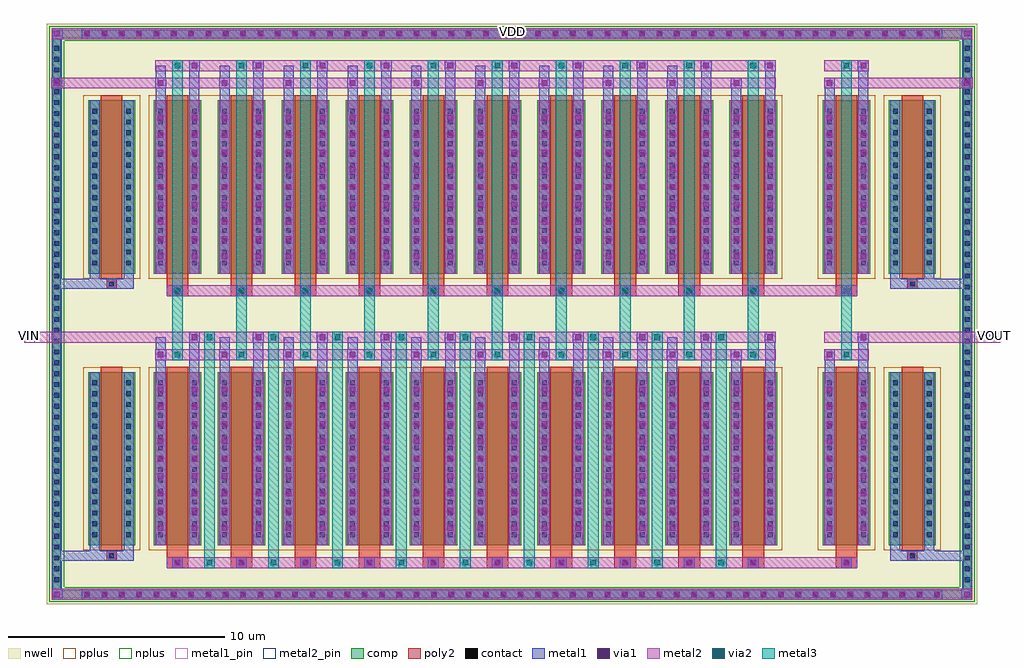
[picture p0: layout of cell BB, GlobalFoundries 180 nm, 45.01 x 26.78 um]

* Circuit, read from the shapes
.subckt BB VDD VIN VOUT
XM1 VDD VDD VDD VDD pfet_03v3 w=8u l=1u m=4
XM2 VIN VIN n1 VDD pfet_03v3 w=8u l=1u m=10
XM3 n1 n1 VDD VDD pfet_03v3 w=8u l=1u m=10
XM4 VOUT VIN n2 VDD pfet_03v3 w=8u l=1u
XM5 n2 n1 VDD VDD pfet_03v3 w=8u l=1u
.ends

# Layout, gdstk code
import gdstk
lib = gdstk.Library(unit=1e-6, precision=5e-09)
def R(c, l, rs):  # rectangles x0, y0, x1, y1
    for r in rs: c.add(gdstk.rectangle(r[:2], r[2:], *l))
def A(c, l, x, y, w, h, nx, ny, dx, dy):  # array of equal rectangles
    R(c, l, [(x+i*dx, y+j*dy, x+i*dx+w, y+j*dy+h) for i in range(nx) for j in range(ny)])
def P(c, l, *ps):  # polygons
    for p in ps: c.add(gdstk.Polygon(p, *l))
nwell = (21, 0)
comp = (22, 0)
poly2 = (30, 0)
pplus = (31, 0)
nplus = (32, 0)
contact = (33, 0)
metal1 = (34, 0)
metal1_pin = (34, 10)
via1 = (35, 0)
metal2 = (36, 0)
metal2_pin = (36, 10)
via2 = (38, 0)
metal3 = (42, 0)

c_bb = lib.new_cell('BB')
R(c_bb, nwell, [(-17.795,-7.12,25.115,19.66), (-16.235,-5.565,16.235,5.565), (17.635,-5.565,23.555,5.565), (-16.235,6.965,16.235,18.095), (17.635,6.965,23.555,18.095)])
A(c_bb, comp, -16.12, -6.84, 0.36, 0.36, 50, 2, 0.8, 25.86)
A(c_bb, comp, -17.515, -6.16, 0.36, 0.36, 1, 50, 0, 0.5)
A(c_bb, comp, 24.475, -6.16, 0.36, 0.36, 1, 50, 0, 0.5)
A(c_bb, comp, -12.865, -4.405, 2.2, 8, 10, 2, 2.95, 12.53)
R(c_bb, comp, [(-16.12,-6.84,23.44,-6.48), (-17.515,-6.16,-17.155,18.7), (24.475,-6.16,24.835,18.7), (-15.885,-4.405,-13.725,3.595), (17.985,-4.405,20.185,3.595), (21.045,-4.405,23.205,3.595), (-15.885,8.125,-13.725,16.125), (17.985,8.125,20.185,16.125), (21.045,8.125,23.205,16.125), (-16.12,19.02,23.44,19.38)])
P(c_bb, comp, [(24.835,19.38),(-17.515,19.38),(-17.515,-6.48),(-17.155,-6.48),(-17.155,19.02),(24.475,19.02),(24.475,-6.48),(-17.155,-6.48),(-17.515,-6.48),(-17.515,-6.84),(24.835,-6.84)])
A(c_bb, poly2, -12.265, -5.445, 1, 0.5, 10, 2, 2.95, 12.53)
A(c_bb, poly2, -11.945, -5.375, 0.36, 0.36, 10, 2, 2.95, 12.53)
A(c_bb, poly2, -12.265, -5.195, 1, 9.03, 9, 2, 2.95, 12.53)
A(c_bb, poly2, -12.265, -4.945, 1, 0.3, 10, 2, 2.95, 12.53)
A(c_bb, poly2, -12.265, -4.645, 1, 8.48, 10, 2, 2.95, 12.53)
R(c_bb, poly2, [(18.585,-5.445,19.585,-4.945), (18.905,-5.375,19.265,-5.015), (-15.035,-5.105,-14.575,-4.645), (21.895,-5.105,22.355,-4.645), (-14.985,-5.055,-14.625,-4.695), (21.945,-5.055,22.305,-4.695), (18.585,-4.945,19.585,-4.645), (-15.305,-4.645,-14.305,3.835), (18.585,-4.645,19.585,3.835), (21.625,-4.645,22.625,3.835), (18.585,7.085,19.585,7.585), (18.905,7.155,19.265,7.515), (-15.035,7.425,-14.575,7.885), (21.895,7.425,22.355,7.885), (-14.985,7.475,-14.625,7.835), (21.945,7.475,22.305,7.835), (18.585,7.585,19.585,7.885), (-15.305,7.885,-14.305,16.365), (18.585,7.885,19.585,16.365), (21.625,7.885,22.625,16.365)])
A(c_bb, pplus, -13.095, -4.635, 2.66, 8.46, 10, 2, 2.95, 12.53)
R(c_bb, pplus, [(-16.115,-4.635,-13.495,3.825), (-13.095,-4.635,16.115,3.825), (17.755,-4.635,20.415,3.825), (17.755,-4.635,20.415,3.825), (20.815,-4.635,23.435,3.825), (-16.115,7.895,-13.495,16.355), (-13.095,7.895,16.115,16.355), (17.755,7.895,20.415,16.355), (17.755,7.895,20.415,16.355), (20.815,7.895,23.435,16.355)])
P(c_bb, nplus, [(24.995,19.54),(-17.675,19.54),(-17.675,-6.32),(-16.995,-6.32),(-16.995,18.86),(24.315,18.86),(24.315,-6.32),(-16.995,-6.32),(-17.675,-6.32),(-17.675,-7),(24.995,-7)])
A(c_bb, contact, -16.05, -6.77, 0.22, 0.22, 50, 2, 0.8, 25.86)
A(c_bb, contact, -17.445, -6.09, 0.22, 0.22, 1, 50, 0, 0.5)
A(c_bb, contact, 24.545, -6.09, 0.22, 0.22, 1, 50, 0, 0.5)
A(c_bb, contact, -11.875, -5.305, 0.22, 0.22, 10, 2, 2.95, 12.53)
A(c_bb, contact, -15.695, -4.015, 0.22, 0.22, 1, 15, 0, 0.5)
A(c_bb, contact, -14.135, -4.015, 0.22, 0.22, 1, 15, 0, 0.5)
A(c_bb, contact, -12.655, -4.015, 0.22, 0.22, 1, 15, 0, 0.5)
A(c_bb, contact, -11.095, -4.015, 0.22, 0.22, 1, 15, 0, 0.5)
A(c_bb, contact, -9.705, -4.015, 0.22, 0.22, 1, 15, 0, 0.5)
A(c_bb, contact, -8.145, -4.015, 0.22, 0.22, 1, 15, 0, 0.5)
A(c_bb, contact, -6.755, -4.015, 0.22, 0.22, 1, 15, 0, 0.5)
A(c_bb, contact, -5.195, -4.015, 0.22, 0.22, 1, 15, 0, 0.5)
A(c_bb, contact, -3.805, -4.015, 0.22, 0.22, 1, 15, 0, 0.5)
A(c_bb, contact, -2.245, -4.015, 0.22, 0.22, 1, 15, 0, 0.5)
A(c_bb, contact, -0.855, -4.015, 0.22, 0.22, 1, 15, 0, 0.5)
A(c_bb, contact, 0.705, -4.015, 0.22, 0.22, 1, 15, 0, 0.5)
A(c_bb, contact, 2.095, -4.015, 0.22, 0.22, 1, 15, 0, 0.5)
A(c_bb, contact, 3.655, -4.015, 0.22, 0.22, 1, 15, 0, 0.5)
A(c_bb, contact, 5.045, -4.015, 0.22, 0.22, 1, 15, 0, 0.5)
A(c_bb, contact, 6.605, -4.015, 0.22, 0.22, 1, 15, 0, 0.5)
A(c_bb, contact, 7.995, -4.015, 0.22, 0.22, 1, 15, 0, 0.5)
A(c_bb, contact, 9.555, -4.015, 0.22, 0.22, 1, 15, 0, 0.5)
A(c_bb, contact, 10.945, -4.015, 0.22, 0.22, 1, 15, 0, 0.5)
A(c_bb, contact, 12.505, -4.015, 0.22, 0.22, 1, 15, 0, 0.5)
A(c_bb, contact, 13.895, -4.015, 0.22, 0.22, 1, 15, 0, 0.5)
A(c_bb, contact, 15.455, -4.015, 0.22, 0.22, 1, 15, 0, 0.5)
A(c_bb, contact, 18.195, -4.015, 0.22, 0.22, 1, 15, 0, 0.5)
A(c_bb, contact, 19.755, -4.015, 0.22, 0.22, 1, 15, 0, 0.5)
A(c_bb, contact, 21.235, -4.015, 0.22, 0.22, 1, 15, 0, 0.5)
A(c_bb, contact, 22.795, -4.015, 0.22, 0.22, 1, 15, 0, 0.5)
A(c_bb, contact, -15.695, 8.515, 0.22, 0.22, 1, 15, 0, 0.5)
A(c_bb, contact, -14.135, 8.515, 0.22, 0.22, 1, 15, 0, 0.5)
A(c_bb, contact, -12.655, 8.515, 0.22, 0.22, 1, 15, 0, 0.5)
A(c_bb, contact, -11.095, 8.515, 0.22, 0.22, 1, 15, 0, 0.5)
A(c_bb, contact, -9.705, 8.515, 0.22, 0.22, 1, 15, 0, 0.5)
A(c_bb, contact, -8.145, 8.515, 0.22, 0.22, 1, 15, 0, 0.5)
A(c_bb, contact, -6.755, 8.515, 0.22, 0.22, 1, 15, 0, 0.5)
A(c_bb, contact, -5.195, 8.515, 0.22, 0.22, 1, 15, 0, 0.5)
A(c_bb, contact, -3.805, 8.515, 0.22, 0.22, 1, 15, 0, 0.5)
A(c_bb, contact, -2.245, 8.515, 0.22, 0.22, 1, 15, 0, 0.5)
A(c_bb, contact, -0.855, 8.515, 0.22, 0.22, 1, 15, 0, 0.5)
A(c_bb, contact, 0.705, 8.515, 0.22, 0.22, 1, 15, 0, 0.5)
A(c_bb, contact, 2.095, 8.515, 0.22, 0.22, 1, 15, 0, 0.5)
A(c_bb, contact, 3.655, 8.515, 0.22, 0.22, 1, 15, 0, 0.5)
A(c_bb, contact, 5.045, 8.515, 0.22, 0.22, 1, 15, 0, 0.5)
A(c_bb, contact, 6.605, 8.515, 0.22, 0.22, 1, 15, 0, 0.5)
A(c_bb, contact, 7.995, 8.515, 0.22, 0.22, 1, 15, 0, 0.5)
A(c_bb, contact, 9.555, 8.515, 0.22, 0.22, 1, 15, 0, 0.5)
A(c_bb, contact, 10.945, 8.515, 0.22, 0.22, 1, 15, 0, 0.5)
A(c_bb, contact, 12.505, 8.515, 0.22, 0.22, 1, 15, 0, 0.5)
A(c_bb, contact, 13.895, 8.515, 0.22, 0.22, 1, 15, 0, 0.5)
A(c_bb, contact, 15.455, 8.515, 0.22, 0.22, 1, 15, 0, 0.5)
A(c_bb, contact, 18.195, 8.515, 0.22, 0.22, 1, 15, 0, 0.5)
A(c_bb, contact, 19.755, 8.515, 0.22, 0.22, 1, 15, 0, 0.5)
A(c_bb, contact, 21.235, 8.515, 0.22, 0.22, 1, 15, 0, 0.5)
A(c_bb, contact, 22.795, 8.515, 0.22, 0.22, 1, 15, 0, 0.5)
R(c_bb, contact, [(18.975,-5.305,19.195,-5.085), (-14.915,-4.985,-14.695,-4.765), (22.015,-4.985,22.235,-4.765), (18.975,7.225,19.195,7.445), (-14.915,7.545,-14.695,7.765), (22.015,7.545,22.235,7.765)])
A(c_bb, metal1, -16.19, -6.91, 0.5, 0.5, 50, 2, 0.8, 25.86)
A(c_bb, metal1, -17.565, -6.21, 0.46, 0.46, 1, 50, 0, 0.5)
A(c_bb, metal1, 24.425, -6.21, 0.46, 0.46, 1, 50, 0, 0.5)
A(c_bb, metal1, -12.015, -5.445, 0.5, 0.5, 10, 2, 2.95, 12.53)
A(c_bb, metal1, -15.815, -4.135, 0.46, 0.46, 1, 15, 0, 0.5)
A(c_bb, metal1, -14.255, -4.135, 0.46, 0.46, 1, 15, 0, 0.5)
A(c_bb, metal1, -12.775, -4.135, 0.46, 0.46, 1, 15, 0, 0.5)
A(c_bb, metal1, -11.215, -4.135, 0.46, 0.46, 1, 15, 0, 0.5)
A(c_bb, metal1, -9.825, -4.135, 0.46, 0.46, 1, 15, 0, 0.5)
A(c_bb, metal1, -8.265, -4.135, 0.46, 0.46, 1, 15, 0, 0.5)
A(c_bb, metal1, -6.875, -4.135, 0.46, 0.46, 1, 15, 0, 0.5)
A(c_bb, metal1, -5.315, -4.135, 0.46, 0.46, 1, 15, 0, 0.5)
A(c_bb, metal1, -3.925, -4.135, 0.46, 0.46, 1, 15, 0, 0.5)
A(c_bb, metal1, -2.365, -4.135, 0.46, 0.46, 1, 15, 0, 0.5)
A(c_bb, metal1, -0.975, -4.135, 0.46, 0.46, 1, 15, 0, 0.5)
A(c_bb, metal1, 0.585, -4.135, 0.46, 0.46, 1, 15, 0, 0.5)
A(c_bb, metal1, 1.975, -4.135, 0.46, 0.46, 1, 15, 0, 0.5)
A(c_bb, metal1, 3.535, -4.135, 0.46, 0.46, 1, 15, 0, 0.5)
A(c_bb, metal1, 4.925, -4.135, 0.46, 0.46, 1, 15, 0, 0.5)
A(c_bb, metal1, 6.485, -4.135, 0.46, 0.46, 1, 15, 0, 0.5)
A(c_bb, metal1, 7.875, -4.135, 0.46, 0.46, 1, 15, 0, 0.5)
A(c_bb, metal1, 9.435, -4.135, 0.46, 0.46, 1, 15, 0, 0.5)
A(c_bb, metal1, 10.825, -4.135, 0.46, 0.46, 1, 15, 0, 0.5)
A(c_bb, metal1, 12.385, -4.135, 0.46, 0.46, 1, 15, 0, 0.5)
A(c_bb, metal1, 13.775, -4.135, 0.46, 0.46, 1, 15, 0, 0.5)
A(c_bb, metal1, 15.335, -4.135, 0.46, 0.46, 1, 15, 0, 0.5)
A(c_bb, metal1, 18.075, -4.135, 0.46, 0.46, 1, 15, 0, 0.5)
A(c_bb, metal1, 19.635, -4.135, 0.46, 0.46, 1, 15, 0, 0.5)
A(c_bb, metal1, 21.115, -4.135, 0.46, 0.46, 1, 15, 0, 0.5)
A(c_bb, metal1, 22.675, -4.135, 0.46, 0.46, 1, 15, 0, 0.5)
A(c_bb, metal1, -12.795, -3.855, 0.5, 0.5, 1, 9, 0, 0.8)
A(c_bb, metal1, -11.235, -3.855, 0.5, 0.5, 1, 9, 0, 0.8)
A(c_bb, metal1, -9.845, -3.855, 0.5, 0.5, 1, 9, 0, 0.8)
A(c_bb, metal1, -8.285, -3.855, 0.5, 0.5, 1, 9, 0, 0.8)
A(c_bb, metal1, -6.895, -3.855, 0.5, 0.5, 1, 9, 0, 0.8)
A(c_bb, metal1, -5.335, -3.855, 0.5, 0.5, 1, 9, 0, 0.8)
A(c_bb, metal1, -3.945, -3.855, 0.5, 0.5, 1, 9, 0, 0.8)
A(c_bb, metal1, -2.385, -3.855, 0.5, 0.5, 1, 9, 0, 0.8)
A(c_bb, metal1, -0.995, -3.855, 0.5, 0.5, 1, 9, 0, 0.8)
A(c_bb, metal1, 0.565, -3.855, 0.5, 0.5, 1, 9, 0, 0.8)
A(c_bb, metal1, 1.955, -3.855, 0.5, 0.5, 1, 9, 0, 0.8)
A(c_bb, metal1, 3.515, -3.855, 0.5, 0.5, 1, 9, 0, 0.8)
A(c_bb, metal1, 4.905, -3.855, 0.5, 0.5, 1, 9, 0, 0.8)
A(c_bb, metal1, 6.465, -3.855, 0.5, 0.5, 1, 9, 0, 0.8)
A(c_bb, metal1, 7.855, -3.855, 0.5, 0.5, 1, 9, 0, 0.8)
A(c_bb, metal1, 9.415, -3.855, 0.5, 0.5, 1, 9, 0, 0.8)
A(c_bb, metal1, 10.805, -3.855, 0.5, 0.5, 1, 9, 0, 0.8)
A(c_bb, metal1, 12.365, -3.855, 0.5, 0.5, 1, 9, 0, 0.8)
A(c_bb, metal1, 13.755, -3.855, 0.5, 0.5, 1, 9, 0, 0.8)
A(c_bb, metal1, 15.315, -3.855, 0.5, 0.5, 1, 9, 0, 0.8)
A(c_bb, metal1, 18.055, -3.855, 0.5, 0.5, 1, 9, 0, 0.8)
A(c_bb, metal1, 19.615, -3.855, 0.5, 0.5, 1, 9, 0, 0.8)
A(c_bb, metal1, -12.775, 3.595, 0.46, 1.05, 10, 2, 2.95, 12.53)
A(c_bb, metal1, -11.215, 3.595, 0.46, 1.85, 10, 2, 2.95, 12.53)
A(c_bb, metal1, -12.795, 4.145, 0.5, 0.5, 10, 2, 2.95, 12.53)
A(c_bb, metal1, -11.235, 4.945, 0.5, 0.5, 10, 2, 2.95, 12.53)
A(c_bb, metal1, -15.815, 8.395, 0.46, 0.46, 1, 15, 0, 0.5)
A(c_bb, metal1, -14.255, 8.395, 0.46, 0.46, 1, 15, 0, 0.5)
A(c_bb, metal1, -12.775, 8.395, 0.46, 0.46, 1, 15, 0, 0.5)
A(c_bb, metal1, -11.215, 8.395, 0.46, 0.46, 1, 15, 0, 0.5)
A(c_bb, metal1, -9.825, 8.395, 0.46, 0.46, 1, 15, 0, 0.5)
A(c_bb, metal1, -8.265, 8.395, 0.46, 0.46, 1, 15, 0, 0.5)
A(c_bb, metal1, -6.875, 8.395, 0.46, 0.46, 1, 15, 0, 0.5)
A(c_bb, metal1, -5.315, 8.395, 0.46, 0.46, 1, 15, 0, 0.5)
A(c_bb, metal1, -3.925, 8.395, 0.46, 0.46, 1, 15, 0, 0.5)
A(c_bb, metal1, -2.365, 8.395, 0.46, 0.46, 1, 15, 0, 0.5)
A(c_bb, metal1, -0.975, 8.395, 0.46, 0.46, 1, 15, 0, 0.5)
A(c_bb, metal1, 0.585, 8.395, 0.46, 0.46, 1, 15, 0, 0.5)
A(c_bb, metal1, 1.975, 8.395, 0.46, 0.46, 1, 15, 0, 0.5)
A(c_bb, metal1, 3.535, 8.395, 0.46, 0.46, 1, 15, 0, 0.5)
A(c_bb, metal1, 4.925, 8.395, 0.46, 0.46, 1, 15, 0, 0.5)
A(c_bb, metal1, 6.485, 8.395, 0.46, 0.46, 1, 15, 0, 0.5)
A(c_bb, metal1, 7.875, 8.395, 0.46, 0.46, 1, 15, 0, 0.5)
A(c_bb, metal1, 9.435, 8.395, 0.46, 0.46, 1, 15, 0, 0.5)
A(c_bb, metal1, 10.825, 8.395, 0.46, 0.46, 1, 15, 0, 0.5)
A(c_bb, metal1, 12.385, 8.395, 0.46, 0.46, 1, 15, 0, 0.5)
A(c_bb, metal1, 13.775, 8.395, 0.46, 0.46, 1, 15, 0, 0.5)
A(c_bb, metal1, 15.335, 8.395, 0.46, 0.46, 1, 15, 0, 0.5)
A(c_bb, metal1, 18.075, 8.395, 0.46, 0.46, 1, 15, 0, 0.5)
A(c_bb, metal1, 19.635, 8.395, 0.46, 0.46, 1, 15, 0, 0.5)
A(c_bb, metal1, 21.115, 8.395, 0.46, 0.46, 1, 15, 0, 0.5)
A(c_bb, metal1, 22.675, 8.395, 0.46, 0.46, 1, 15, 0, 0.5)
A(c_bb, metal1, -12.795, 8.675, 0.5, 0.5, 1, 9, 0, 0.8)
A(c_bb, metal1, -11.235, 8.675, 0.5, 0.5, 1, 9, 0, 0.8)
A(c_bb, metal1, -9.845, 8.675, 0.5, 0.5, 1, 9, 0, 0.8)
A(c_bb, metal1, -8.285, 8.675, 0.5, 0.5, 1, 9, 0, 0.8)
A(c_bb, metal1, -6.895, 8.675, 0.5, 0.5, 1, 9, 0, 0.8)
A(c_bb, metal1, -5.335, 8.675, 0.5, 0.5, 1, 9, 0, 0.8)
A(c_bb, metal1, -3.945, 8.675, 0.5, 0.5, 1, 9, 0, 0.8)
A(c_bb, metal1, -2.385, 8.675, 0.5, 0.5, 1, 9, 0, 0.8)
A(c_bb, metal1, -0.995, 8.675, 0.5, 0.5, 1, 9, 0, 0.8)
A(c_bb, metal1, 0.565, 8.675, 0.5, 0.5, 1, 9, 0, 0.8)
A(c_bb, metal1, 1.955, 8.675, 0.5, 0.5, 1, 9, 0, 0.8)
A(c_bb, metal1, 3.515, 8.675, 0.5, 0.5, 1, 9, 0, 0.8)
A(c_bb, metal1, 4.905, 8.675, 0.5, 0.5, 1, 9, 0, 0.8)
A(c_bb, metal1, 6.465, 8.675, 0.5, 0.5, 1, 9, 0, 0.8)
A(c_bb, metal1, 7.855, 8.675, 0.5, 0.5, 1, 9, 0, 0.8)
A(c_bb, metal1, 9.415, 8.675, 0.5, 0.5, 1, 9, 0, 0.8)
A(c_bb, metal1, 10.805, 8.675, 0.5, 0.5, 1, 9, 0, 0.8)
A(c_bb, metal1, 12.365, 8.675, 0.5, 0.5, 1, 9, 0, 0.8)
A(c_bb, metal1, 13.755, 8.675, 0.5, 0.5, 1, 9, 0, 0.8)
A(c_bb, metal1, 15.315, 8.675, 0.5, 0.5, 1, 9, 0, 0.8)
A(c_bb, metal1, 18.055, 8.675, 0.5, 0.5, 1, 9, 0, 0.8)
A(c_bb, metal1, 19.615, 8.675, 0.5, 0.5, 1, 9, 0, 0.8)
R(c_bb, metal1, [(-17.565,-6.91,-17.065,-6.41), (-17.565,-6.91,-17.065,-6.41), (-17.565,-6.91,-17.105,-6.48), (-16.19,-6.91,23.51,-6.41), (24.385,-6.91,24.885,-6.41), (24.385,-6.91,24.885,-6.41), (24.425,-6.91,24.885,-6.48), (-17.565,-6.48,-17.105,19.02), (24.425,-6.48,24.885,19.02), (18.835,-5.445,19.335,-4.945), (-17.565,-5.105,-15.035,-4.645), (-15.815,-5.105,-15.035,-4.645), (-15.815,-5.105,-15.355,-4.405), (-15.035,-5.105,-14.575,-4.645), (-14.575,-5.105,-13.795,-4.645), (-14.255,-5.105,-13.795,-4.405), (21.115,-5.105,21.895,-4.645), (21.115,-5.105,21.575,-4.405), (21.895,-5.105,22.355,-4.645), (22.355,-5.105,23.135,-4.645), (22.355,-5.105,24.885,-4.645), (22.675,-5.105,23.135,-4.405), (-15.815,-4.405,-15.355,3.595), (-14.255,-4.405,-13.795,3.595), (-12.775,-4.405,-12.315,3.595), (-11.215,-4.405,-10.755,3.595), (-9.825,-4.405,-9.365,3.595), (-8.265,-4.405,-7.805,3.595), (-6.875,-4.405,-6.415,3.595), (-5.315,-4.405,-4.855,3.595), (-3.925,-4.405,-3.465,3.595), (-2.365,-4.405,-1.905,3.595), (-0.975,-4.405,-0.515,3.595), (0.585,-4.405,1.045,3.595), (1.975,-4.405,2.435,3.595), (3.535,-4.405,3.995,3.595), (4.925,-4.405,5.385,3.595), (6.485,-4.405,6.945,3.595), (7.875,-4.405,8.335,3.595), (9.435,-4.405,9.895,3.595), (10.825,-4.405,11.285,3.595), (12.385,-4.405,12.845,3.595), (13.775,-4.405,14.235,3.595), (15.335,-4.405,15.795,3.595), (18.075,-4.405,18.535,3.595), (19.635,-4.405,20.095,3.595), (21.115,-4.405,21.575,3.595), (22.675,-4.405,23.135,3.595), (-12.795,-3.855,-12.295,3.045), (-11.235,-3.855,-10.735,3.045), (-9.845,-3.855,-9.345,3.045), (-8.285,-3.855,-7.785,3.045), (-6.895,-3.855,-6.395,3.045), (-5.335,-3.855,-4.835,3.045), (-3.945,-3.855,-3.445,3.045), (-2.385,-3.855,-1.885,3.045), (-0.995,-3.855,-0.495,3.045), (0.565,-3.855,1.065,3.045), (1.955,-3.855,2.455,3.045), (3.515,-3.855,4.015,3.045), (4.905,-3.855,5.405,3.045), (6.465,-3.855,6.965,3.045), (7.855,-3.855,8.355,3.045), (9.415,-3.855,9.915,3.045), (10.805,-3.855,11.305,3.045), (12.365,-3.855,12.865,3.045), (13.755,-3.855,14.255,3.045), (15.315,-3.855,15.815,3.045), (18.055,-3.855,18.555,3.045), (19.615,-3.855,20.115,3.045), (-12.775,3.595,-12.315,5.195), (-11.215,3.595,-10.755,5.195), (-9.825,3.595,-9.365,5.195), (-8.265,3.595,-7.805,5.195), (-6.875,3.595,-6.415,5.195), (-5.315,3.595,-4.855,5.195), (-3.925,3.595,-3.465,5.195), (-2.365,3.595,-1.905,5.195), (-0.975,3.595,-0.515,5.195), (0.585,3.595,1.045,5.195), (1.975,3.595,2.435,5.195), (3.535,3.595,3.995,5.195), (4.925,3.595,5.385,5.195), (6.485,3.595,6.945,5.195), (7.875,3.595,8.335,5.195), (9.435,3.595,9.895,5.195), (10.825,3.595,11.285,5.195), (12.385,3.595,12.845,5.195), (18.075,3.595,18.535,4.645), (19.635,3.595,20.095,5.445), (18.055,4.145,18.555,4.645), (-18.845,4.945,-18.345,5.445), (19.615,4.945,20.115,5.445), (25.665,4.945,26.165,5.445), (18.835,7.085,19.335,7.585), (-17.565,7.425,-15.035,7.885), (-15.815,7.425,-15.035,7.885), (-15.815,7.425,-15.355,8.125), (-15.035,7.425,-14.575,7.885), (-14.575,7.425,-13.795,7.885), (-14.255,7.425,-13.795,8.125), (21.115,7.425,21.895,7.885), (21.115,7.425,21.575,8.125), (21.895,7.425,22.355,7.885), (22.355,7.425,23.135,7.885), (22.355,7.425,24.885,7.885), (22.675,7.425,23.135,8.125), (-15.815,8.125,-15.355,16.125), (-14.255,8.125,-13.795,16.125), (-12.775,8.125,-12.315,16.125), (-11.215,8.125,-10.755,16.125), (-9.825,8.125,-9.365,16.125), (-8.265,8.125,-7.805,16.125), (-6.875,8.125,-6.415,16.125), (-5.315,8.125,-4.855,16.125), (-3.925,8.125,-3.465,16.125), (-2.365,8.125,-1.905,16.125), (-0.975,8.125,-0.515,16.125), (0.585,8.125,1.045,16.125), (1.975,8.125,2.435,16.125), (3.535,8.125,3.995,16.125), (4.925,8.125,5.385,16.125), (6.485,8.125,6.945,16.125), (7.875,8.125,8.335,16.125), (9.435,8.125,9.895,16.125), (10.825,8.125,11.285,16.125), (12.385,8.125,12.845,16.125), (13.775,8.125,14.235,16.125), (15.335,8.125,15.795,16.125), (18.075,8.125,18.535,16.125), (19.635,8.125,20.095,16.125), (21.115,8.125,21.575,16.125), (22.675,8.125,23.135,16.125), (-12.795,8.675,-12.295,15.575), (-11.235,8.675,-10.735,15.575), (-9.845,8.675,-9.345,15.575), (-8.285,8.675,-7.785,15.575), (-6.895,8.675,-6.395,15.575), (-5.335,8.675,-4.835,15.575), (-3.945,8.675,-3.445,15.575), (-2.385,8.675,-1.885,15.575), (-0.995,8.675,-0.495,15.575), (0.565,8.675,1.065,15.575), (1.955,8.675,2.455,15.575), (3.515,8.675,4.015,15.575), (4.905,8.675,5.405,15.575), (6.465,8.675,6.965,15.575), (7.855,8.675,8.355,15.575), (9.415,8.675,9.915,15.575), (10.805,8.675,11.305,15.575), (12.365,8.675,12.865,15.575), (13.755,8.675,14.255,15.575), (15.315,8.675,15.815,15.575), (18.055,8.675,18.555,15.575), (19.615,8.675,20.115,15.575), (-12.775,16.125,-12.315,17.725), (-11.215,16.125,-10.755,17.725), (-9.825,16.125,-9.365,17.725), (-8.265,16.125,-7.805,17.725), (-6.875,16.125,-6.415,17.725), (-5.315,16.125,-4.855,17.725), (-3.925,16.125,-3.465,17.725), (-2.365,16.125,-1.905,17.725), (-0.975,16.125,-0.515,17.725), (0.585,16.125,1.045,17.725), (1.975,16.125,2.435,17.725), (3.535,16.125,3.995,17.725), (4.925,16.125,5.385,17.725), (6.485,16.125,6.945,17.725), (7.875,16.125,8.335,17.725), (9.435,16.125,9.895,17.725), (10.825,16.125,11.285,17.725), (12.385,16.125,12.845,17.725), (18.075,16.125,18.535,17.175), (19.635,16.125,20.095,17.975), (-17.585,16.675,-17.085,17.175), (18.055,16.675,18.555,17.175), (24.405,16.675,24.905,17.175), (19.615,17.475,20.115,17.975), (-17.565,18.95,-17.065,19.45), (-17.565,18.95,-17.065,19.45), (-16.19,18.95,23.51,19.45), (24.385,18.95,24.885,19.45), (24.385,18.95,24.885,19.45), (-17.565,19.02,-17.105,19.45), (24.425,19.02,24.885,19.45)])
R(c_bb, metal1_pin, [(3.485,19.1,3.835,19.45)])
A(c_bb, via1, -16.07, -6.79, 0.26, 0.26, 50, 2, 0.8, 25.86)
A(c_bb, via1, -11.895, -5.325, 0.26, 0.26, 10, 2, 2.95, 12.53)
A(c_bb, via1, -12.675, -3.735, 0.26, 0.26, 1, 9, 0, 0.8)
A(c_bb, via1, -11.115, -3.735, 0.26, 0.26, 1, 9, 0, 0.8)
A(c_bb, via1, -9.725, -3.735, 0.26, 0.26, 1, 9, 0, 0.8)
A(c_bb, via1, -8.165, -3.735, 0.26, 0.26, 1, 9, 0, 0.8)
A(c_bb, via1, -6.775, -3.735, 0.26, 0.26, 1, 9, 0, 0.8)
A(c_bb, via1, -5.215, -3.735, 0.26, 0.26, 1, 9, 0, 0.8)
A(c_bb, via1, -3.825, -3.735, 0.26, 0.26, 1, 9, 0, 0.8)
A(c_bb, via1, -2.265, -3.735, 0.26, 0.26, 1, 9, 0, 0.8)
A(c_bb, via1, -0.875, -3.735, 0.26, 0.26, 1, 9, 0, 0.8)
A(c_bb, via1, 0.685, -3.735, 0.26, 0.26, 1, 9, 0, 0.8)
A(c_bb, via1, 2.075, -3.735, 0.26, 0.26, 1, 9, 0, 0.8)
A(c_bb, via1, 3.635, -3.735, 0.26, 0.26, 1, 9, 0, 0.8)
A(c_bb, via1, 5.025, -3.735, 0.26, 0.26, 1, 9, 0, 0.8)
A(c_bb, via1, 6.585, -3.735, 0.26, 0.26, 1, 9, 0, 0.8)
A(c_bb, via1, 7.975, -3.735, 0.26, 0.26, 1, 9, 0, 0.8)
A(c_bb, via1, 9.535, -3.735, 0.26, 0.26, 1, 9, 0, 0.8)
A(c_bb, via1, 10.925, -3.735, 0.26, 0.26, 1, 9, 0, 0.8)
A(c_bb, via1, 12.485, -3.735, 0.26, 0.26, 1, 9, 0, 0.8)
A(c_bb, via1, 13.875, -3.735, 0.26, 0.26, 1, 9, 0, 0.8)
A(c_bb, via1, 15.435, -3.735, 0.26, 0.26, 1, 9, 0, 0.8)
A(c_bb, via1, 18.175, -3.735, 0.26, 0.26, 1, 9, 0, 0.8)
A(c_bb, via1, 19.735, -3.735, 0.26, 0.26, 1, 9, 0, 0.8)
A(c_bb, via1, -12.675, 4.265, 0.26, 0.26, 10, 2, 2.95, 12.53)
A(c_bb, via1, -11.115, 5.065, 0.26, 0.26, 10, 2, 2.95, 12.53)
A(c_bb, via1, -12.675, 8.795, 0.26, 0.26, 1, 9, 0, 0.8)
A(c_bb, via1, -11.115, 8.795, 0.26, 0.26, 1, 9, 0, 0.8)
A(c_bb, via1, -9.725, 8.795, 0.26, 0.26, 1, 9, 0, 0.8)
A(c_bb, via1, -8.165, 8.795, 0.26, 0.26, 1, 9, 0, 0.8)
A(c_bb, via1, -6.775, 8.795, 0.26, 0.26, 1, 9, 0, 0.8)
A(c_bb, via1, -5.215, 8.795, 0.26, 0.26, 1, 9, 0, 0.8)
A(c_bb, via1, -3.825, 8.795, 0.26, 0.26, 1, 9, 0, 0.8)
A(c_bb, via1, -2.265, 8.795, 0.26, 0.26, 1, 9, 0, 0.8)
A(c_bb, via1, -0.875, 8.795, 0.26, 0.26, 1, 9, 0, 0.8)
A(c_bb, via1, 0.685, 8.795, 0.26, 0.26, 1, 9, 0, 0.8)
A(c_bb, via1, 2.075, 8.795, 0.26, 0.26, 1, 9, 0, 0.8)
A(c_bb, via1, 3.635, 8.795, 0.26, 0.26, 1, 9, 0, 0.8)
A(c_bb, via1, 5.025, 8.795, 0.26, 0.26, 1, 9, 0, 0.8)
A(c_bb, via1, 6.585, 8.795, 0.26, 0.26, 1, 9, 0, 0.8)
A(c_bb, via1, 7.975, 8.795, 0.26, 0.26, 1, 9, 0, 0.8)
A(c_bb, via1, 9.535, 8.795, 0.26, 0.26, 1, 9, 0, 0.8)
A(c_bb, via1, 10.925, 8.795, 0.26, 0.26, 1, 9, 0, 0.8)
A(c_bb, via1, 12.485, 8.795, 0.26, 0.26, 1, 9, 0, 0.8)
A(c_bb, via1, 13.875, 8.795, 0.26, 0.26, 1, 9, 0, 0.8)
A(c_bb, via1, 15.435, 8.795, 0.26, 0.26, 1, 9, 0, 0.8)
A(c_bb, via1, 18.175, 8.795, 0.26, 0.26, 1, 9, 0, 0.8)
A(c_bb, via1, 19.735, 8.795, 0.26, 0.26, 1, 9, 0, 0.8)
R(c_bb, via1, [(-17.445,-6.79,-17.185,-6.53), (24.505,-6.79,24.765,-6.53), (18.955,-5.325,19.215,-5.065), (18.175,4.265,18.435,4.525), (-18.725,5.065,-18.465,5.325), (19.735,5.065,19.995,5.325), (25.785,5.065,26.045,5.325), (18.955,7.205,19.215,7.465), (-17.465,16.795,-17.205,17.055), (18.175,16.795,18.435,17.055), (24.525,16.795,24.785,17.055), (19.735,17.595,19.995,17.855), (-17.445,19.07,-17.185,19.33), (24.505,19.07,24.765,19.33)])
A(c_bb, metal2, -16.19, -6.91, 0.5, 0.5, 50, 2, 0.8, 25.86)
A(c_bb, metal2, -12.265, -5.445, 1, 0.5, 10, 2, 2.95, 12.53)
A(c_bb, metal2, -12.015, -5.445, 0.5, 0.5, 19, 1, 1.475, 0)
A(c_bb, metal2, -12.795, -3.855, 0.5, 0.5, 1, 9, 0, 0.8)
A(c_bb, metal2, -11.235, -3.855, 0.5, 0.5, 1, 9, 0, 0.8)
A(c_bb, metal2, -9.845, -3.855, 0.5, 0.5, 1, 9, 0, 0.8)
A(c_bb, metal2, -8.285, -3.855, 0.5, 0.5, 1, 9, 0, 0.8)
A(c_bb, metal2, -6.895, -3.855, 0.5, 0.5, 1, 9, 0, 0.8)
A(c_bb, metal2, -5.335, -3.855, 0.5, 0.5, 1, 9, 0, 0.8)
A(c_bb, metal2, -3.945, -3.855, 0.5, 0.5, 1, 9, 0, 0.8)
A(c_bb, metal2, -2.385, -3.855, 0.5, 0.5, 1, 9, 0, 0.8)
A(c_bb, metal2, -0.995, -3.855, 0.5, 0.5, 1, 9, 0, 0.8)
A(c_bb, metal2, 0.565, -3.855, 0.5, 0.5, 1, 9, 0, 0.8)
A(c_bb, metal2, 1.955, -3.855, 0.5, 0.5, 1, 9, 0, 0.8)
A(c_bb, metal2, 3.515, -3.855, 0.5, 0.5, 1, 9, 0, 0.8)
A(c_bb, metal2, 4.905, -3.855, 0.5, 0.5, 1, 9, 0, 0.8)
A(c_bb, metal2, 6.465, -3.855, 0.5, 0.5, 1, 9, 0, 0.8)
A(c_bb, metal2, 7.855, -3.855, 0.5, 0.5, 1, 9, 0, 0.8)
A(c_bb, metal2, 9.415, -3.855, 0.5, 0.5, 1, 9, 0, 0.8)
A(c_bb, metal2, 10.805, -3.855, 0.5, 0.5, 1, 9, 0, 0.8)
A(c_bb, metal2, 12.365, -3.855, 0.5, 0.5, 1, 9, 0, 0.8)
A(c_bb, metal2, 13.755, -3.855, 0.5, 0.5, 1, 9, 0, 0.8)
A(c_bb, metal2, 15.315, -3.855, 0.5, 0.5, 1, 9, 0, 0.8)
A(c_bb, metal2, 18.055, -3.855, 0.5, 0.5, 1, 9, 0, 0.8)
A(c_bb, metal2, 19.615, -3.855, 0.5, 0.5, 1, 9, 0, 0.8)
A(c_bb, metal2, -12.795, 4.145, 2.06, 0.5, 10, 2, 2.95, 0.8)
A(c_bb, metal2, -12.795, 8.675, 0.5, 0.5, 1, 9, 0, 0.8)
A(c_bb, metal2, -11.235, 8.675, 0.5, 0.5, 1, 9, 0, 0.8)
A(c_bb, metal2, -9.845, 8.675, 0.5, 0.5, 1, 9, 0, 0.8)
A(c_bb, metal2, -8.285, 8.675, 0.5, 0.5, 1, 9, 0, 0.8)
A(c_bb, metal2, -6.895, 8.675, 0.5, 0.5, 1, 9, 0, 0.8)
A(c_bb, metal2, -5.335, 8.675, 0.5, 0.5, 1, 9, 0, 0.8)
A(c_bb, metal2, -3.945, 8.675, 0.5, 0.5, 1, 9, 0, 0.8)
A(c_bb, metal2, -2.385, 8.675, 0.5, 0.5, 1, 9, 0, 0.8)
A(c_bb, metal2, -0.995, 8.675, 0.5, 0.5, 1, 9, 0, 0.8)
A(c_bb, metal2, 0.565, 8.675, 0.5, 0.5, 1, 9, 0, 0.8)
A(c_bb, metal2, 1.955, 8.675, 0.5, 0.5, 1, 9, 0, 0.8)
A(c_bb, metal2, 3.515, 8.675, 0.5, 0.5, 1, 9, 0, 0.8)
A(c_bb, metal2, 4.905, 8.675, 0.5, 0.5, 1, 9, 0, 0.8)
A(c_bb, metal2, 6.465, 8.675, 0.5, 0.5, 1, 9, 0, 0.8)
A(c_bb, metal2, 7.855, 8.675, 0.5, 0.5, 1, 9, 0, 0.8)
A(c_bb, metal2, 9.415, 8.675, 0.5, 0.5, 1, 9, 0, 0.8)
A(c_bb, metal2, 10.805, 8.675, 0.5, 0.5, 1, 9, 0, 0.8)
A(c_bb, metal2, 12.365, 8.675, 0.5, 0.5, 1, 9, 0, 0.8)
A(c_bb, metal2, 13.755, 8.675, 0.5, 0.5, 1, 9, 0, 0.8)
A(c_bb, metal2, 15.315, 8.675, 0.5, 0.5, 1, 9, 0, 0.8)
A(c_bb, metal2, 18.055, 8.675, 0.5, 0.5, 1, 9, 0, 0.8)
A(c_bb, metal2, 19.615, 8.675, 0.5, 0.5, 1, 9, 0, 0.8)
A(c_bb, metal2, -12.795, 16.675, 0.5, 0.5, 10, 1, 2.95, 0)
A(c_bb, metal2, -12.795, 16.675, 2.06, 0.5, 10, 2, 2.95, 0.8)
R(c_bb, metal2, [(-17.565,-6.91,-17.065,-6.41), (-17.565,-6.91,-17.065,-6.41), (-17.565,-6.91,-17.155,-6.41), (-17.155,-6.91,24.475,-6.41), (24.385,-6.91,24.885,-6.41), (24.385,-6.91,24.885,-6.41), (24.475,-6.91,24.885,-6.41), (-12.265,-5.445,15.285,-4.945), (15.285,-5.445,18.585,-4.945), (18.585,-5.445,19.585,-4.945), (18.585,-5.445,19.585,-4.945), (18.835,-5.445,19.335,-4.945), (-12.795,-4.405,-12.295,3.595), (-11.235,-4.405,-10.735,3.595), (-9.845,-4.405,-9.345,3.595), (-8.285,-4.405,-7.785,3.595), (-6.895,-4.405,-6.395,3.595), (-5.335,-4.405,-4.835,3.595), (-3.945,-4.405,-3.445,3.595), (-2.385,-4.405,-1.885,3.595), (-0.995,-4.405,-0.495,3.595), (0.565,-4.405,1.065,3.595), (1.955,-4.405,2.455,3.595), (3.515,-4.405,4.015,3.595), (4.905,-4.405,5.405,3.595), (6.465,-4.405,6.965,3.595), (7.855,-4.405,8.355,3.595), (9.415,-4.405,9.915,3.595), (10.805,-4.405,11.305,3.595), (12.365,-4.405,12.865,3.595), (13.755,-4.405,14.255,3.595), (15.315,-4.405,15.815,3.595), (18.055,-4.405,18.555,3.595), (19.615,-4.405,20.115,3.595), (-12.795,4.145,-12.295,4.645), (-12.795,4.145,15.815,4.645), (-12.015,4.145,-11.515,4.645), (-9.845,4.145,-9.345,4.645), (-9.065,4.145,-8.565,4.645), (-6.895,4.145,-6.395,4.645), (-6.115,4.145,-5.615,4.645), (-3.945,4.145,-3.445,4.645), (-3.165,4.145,-2.665,4.645), (-0.995,4.145,-0.495,4.645), (-0.215,4.145,0.285,4.645), (1.955,4.145,2.455,4.645), (2.735,4.145,3.235,4.645), (4.905,4.145,5.405,4.645), (5.685,4.145,6.185,4.645), (7.855,4.145,8.355,4.645), (8.635,4.145,9.135,4.645), (10.805,4.145,11.305,4.645), (11.585,4.145,12.085,4.645), (13.755,4.145,14.255,4.645), (14.535,4.145,15.035,4.645), (18.055,4.145,18.555,4.645), (18.055,4.145,20.115,4.645), (18.055,4.145,20.115,4.645), (18.835,4.145,19.335,4.645), (-18.845,4.945,-18.345,5.445), (-18.345,4.945,-12.795,5.445), (-12.795,4.945,15.815,5.445), (-11.235,4.945,-10.735,5.445), (-10.54,4.945,-10.04,5.445), (-8.285,4.945,-7.785,5.445), (-7.59,4.945,-7.09,5.445), (-5.335,4.945,-4.835,5.445), (-4.64,4.945,-4.14,5.445), (-2.385,4.945,-1.885,5.445), (-1.69,4.945,-1.19,5.445), (0.565,4.945,1.065,5.445), (1.26,4.945,1.76,5.445), (3.515,4.945,4.015,5.445), (4.21,4.945,4.71,5.445), (6.465,4.945,6.965,5.445), (7.16,4.945,7.66,5.445), (9.415,4.945,9.915,5.445), (10.11,4.945,10.61,5.445), (12.365,4.945,12.865,5.445), (13.06,4.945,13.56,5.445), (15.315,4.945,15.815,5.445), (18.055,4.945,20.115,5.445), (18.055,4.945,20.115,5.445), (19.615,4.945,20.115,5.445), (20.115,4.945,25.665,5.445), (25.665,4.945,26.165,5.445), (-12.265,7.085,15.285,7.585), (-12.015,7.085,-11.515,7.585), (-12.015,7.085,-11.515,7.585), (-9.065,7.085,-8.565,7.585), (-9.065,7.085,-8.565,7.585), (-6.115,7.085,-5.615,7.585), (-6.115,7.085,-5.615,7.585), (-3.165,7.085,-2.665,7.585), (-3.165,7.085,-2.665,7.585), (-0.215,7.085,0.285,7.585), (-0.215,7.085,0.285,7.585), (2.735,7.085,3.235,7.585), (2.735,7.085,3.235,7.585), (5.685,7.085,6.185,7.585), (5.685,7.085,6.185,7.585), (8.635,7.085,9.135,7.585), (8.635,7.085,9.135,7.585), (11.585,7.085,12.085,7.585), (11.585,7.085,12.085,7.585), (14.535,7.085,15.035,7.585), (14.535,7.085,15.035,7.585), (15.285,7.085,18.585,7.585), (18.585,7.085,19.585,7.585), (18.585,7.085,19.585,7.585), (18.835,7.085,19.335,7.585), (-12.795,8.125,-12.295,16.125), (-11.235,8.125,-10.735,16.125), (-9.845,8.125,-9.345,16.125), (-8.285,8.125,-7.785,16.125), (-6.895,8.125,-6.395,16.125), (-5.335,8.125,-4.835,16.125), (-3.945,8.125,-3.445,16.125), (-2.385,8.125,-1.885,16.125), (-0.995,8.125,-0.495,16.125), (0.565,8.125,1.065,16.125), (1.955,8.125,2.455,16.125), (3.515,8.125,4.015,16.125), (4.905,8.125,5.405,16.125), (6.465,8.125,6.965,16.125), (7.855,8.125,8.355,16.125), (9.415,8.125,9.915,16.125), (10.805,8.125,11.305,16.125), (12.365,8.125,12.865,16.125), (13.755,8.125,14.255,16.125), (15.315,8.125,15.815,16.125), (18.055,8.125,18.555,16.125), (19.615,8.125,20.115,16.125), (-17.585,16.675,-17.085,17.175), (-17.585,16.675,-12.795,17.175), (-12.795,16.675,15.815,17.175), (18.055,16.675,18.555,17.175), (18.055,16.675,20.115,17.175), (18.055,16.675,20.115,17.175), (20.115,16.675,24.405,17.175), (24.405,16.675,24.905,17.175), (-12.795,17.475,15.815,17.975), (-12.015,17.475,-11.515,17.975), (-11.235,17.475,-10.735,17.975), (-9.065,17.475,-8.565,17.975), (-8.285,17.475,-7.785,17.975), (-6.115,17.475,-5.615,17.975), (-5.335,17.475,-4.835,17.975), (-3.165,17.475,-2.665,17.975), (-2.385,17.475,-1.885,17.975), (-0.215,17.475,0.285,17.975), (0.565,17.475,1.065,17.975), (2.735,17.475,3.235,17.975), (3.515,17.475,4.015,17.975), (5.685,17.475,6.185,17.975), (6.465,17.475,6.965,17.975), (8.635,17.475,9.135,17.975), (9.415,17.475,9.915,17.975), (11.585,17.475,12.085,17.975), (12.365,17.475,12.865,17.975), (14.535,17.475,15.035,17.975), (15.315,17.475,15.815,17.975), (18.055,17.475,20.115,17.975), (18.055,17.475,20.115,17.975), (18.835,17.475,19.335,17.975), (19.615,17.475,20.115,17.975), (-17.565,18.95,-17.065,19.45), (-17.565,18.95,-17.065,19.45), (-17.565,18.95,-17.155,19.45), (-17.155,18.95,24.475,19.45), (24.385,18.95,24.885,19.45), (24.385,18.95,24.885,19.45), (24.475,18.95,24.885,19.45)])
R(c_bb, metal2_pin, [(-18.77,5.095,-18.42,5.445), (25.74,5.095,26.09,5.445)])
A(c_bb, via2, -10.42, -5.325, 0.26, 0.26, 9, 2, 2.95, 10.39)
A(c_bb, via2, -11.895, 4.265, 0.26, 0.26, 10, 2, 2.95, 2.94)
A(c_bb, via2, -11.895, 17.595, 0.26, 0.26, 10, 1, 2.95, 0)
R(c_bb, via2, [(18.955,4.265,19.215,4.525), (18.955,17.595,19.215,17.855)])
A(c_bb, metal3, -10.54, -5.445, 0.5, 0.5, 9, 2, 2.95, 10.39)
A(c_bb, metal3, -10.54, -4.945, 0.5, 9.89, 9, 1, 2.95, 0)
A(c_bb, metal3, -12.015, 4.145, 0.5, 0.5, 10, 2, 2.95, 2.94)
A(c_bb, metal3, -12.015, 4.645, 0.5, 12.83, 10, 1, 2.95, 0)
A(c_bb, metal3, -12.015, 17.475, 0.5, 0.5, 10, 1, 2.95, 0)
R(c_bb, metal3, [(18.835,4.145,19.335,4.645), (18.835,4.645,19.335,17.475), (18.835,17.475,19.335,17.975)])
c_bb.add(gdstk.Label('VIN', (-18.595,5.27), layer=36, texttype=10))
c_bb.add(gdstk.Label('VDD', (3.66,19.275), layer=34, texttype=10))
c_bb.add(gdstk.Label('VOUT', (25.915,5.27), layer=36, texttype=10))

lib.write_gds('BB.gds')
